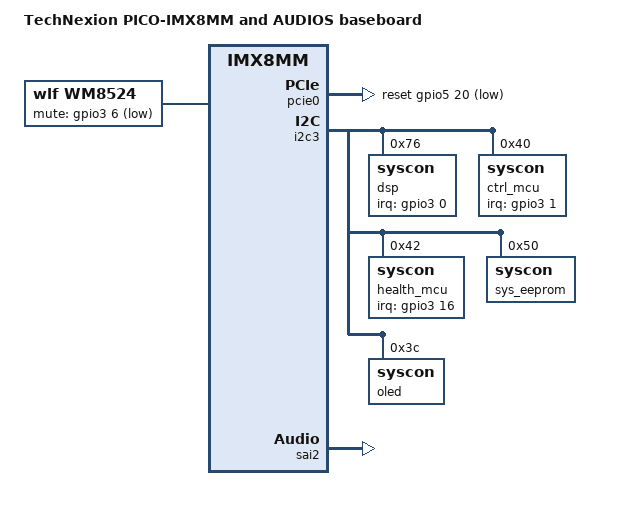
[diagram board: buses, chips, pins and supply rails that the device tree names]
/*
 * Copyright 2020 Audios Inc
 *
 * Author: Erik Young <erik.young@audios.com>
 *
 * This program is free software; you can redistribute it and/or
 * modify it under the terms of the GNU General Public License
 * as published by the Free Software Foundation; either version 2
 * of the License, or (at your option) any later version.
 *
 * This program is distributed in the hope that it will be useful,
 * but WITHOUT ANY WARRANTY; without even the implied warranty of
 * MERCHANTABILITY or FITNESS FOR A PARTICULAR PURPOSE.  See the
 * GNU General Public License for more details.
 */

/dts-v1/;

#include <dt-bindings/input/input.h>
#include "imx8mm-pico.dtsi"

/ {
        model = "TechNexion PICO-IMX8MM and AUDIOS baseboard";
        compatible = "fsl,imx8mm-pico", "fsl,imx8mm";

        /* CODEC DAI driver */
        wm8524: wm8524 {
            pinctrl-names = "default";
            pinctrl-0 = <&pinctrl_wm8524_mute>;
            compatible = "wlf,wm8524";
            clocks = <&clk IMX8MM_CLK_SAI2_ROOT>;
            clock-names = "mclk";
            wlf,mute-gpios = <&gpio3 6 GPIO_ACTIVE_LOW>; 
        };

        /* DAI Link driver */
        sound-wm8524 {
            compatible = "fsl,imx-audio-wm8524";
            model = "wm8524-audio";
            audio-cpu = <&sai2>;
            audio-codec = <&wm8524>;
            audio-routing =
            "Line Out Jack", "LINEVOUTL",
            "Line Out Jack", "LINEVOUTR";
        };

};

&iomuxc {
        pinctrl_pcie0: pcie0grp {
            fsl,pins = <
                MX8MM_IOMUXC_I2C4_SCL_GPIO5_IO20    0x41     /* PCIE_nReset */
                MX8MM_IOMUXC_NAND_DATA02_GPIO3_IO8  0x41     /* EXT_WIFI_REG_ON - E1 Pin 32 */
                MX8MM_IOMUXC_SAI3_RXFS_GPIO4_IO28   0x150    /* Clk Request */
                MX8MM_IOMUXC_I2C4_SDA_GPIO5_IO21    0x41     /* GPIO E1 Pin 48 */
                MX8MM_IOMUXC_NAND_DATA01_GPIO3_IO7  0x41     /* EXT_BT_REG_ON - E1 Pin 30 */
            >;
        };

        pinctrl_wm8524_mute: wm8524mutegrp {
            fsl,pins = <
                MX8MM_IOMUXC_NAND_DATA00_GPIO3_IO6            0x41   /* Temp Pin for Generic sound driver. Remove later */ 
            >;
        };    

        pinctrl_adau1451_irq: adau1451_grp {
                fsl,pins = <
                        MX8MM_IOMUXC_NAND_ALE_GPIO3_IO0       0x19   /* DSP IRQ - E1 Pin 25 */
                >;
        };

        pinctrl_ctrl_mcu_irq: ctrl_mcu_grp {
                fsl,pins = <
                        MX8MM_IOMUXC_NAND_CE0_B_GPIO3_IO1     0x19   /* CTRL IRQ - E1 Pin 24 */
                >;
        };

        pinctrl_health_mcu_irq: health_mcu_grp {
                fsl,pins = <
                        MX8MM_IOMUXC_NAND_READY_B_GPIO3_IO16  0x19   /* HEALTH IRQ - E1 Pin 26 */
                >;
        };

        pinctrl_spare1_dsp_gpio: spare1_dsp_gpio_grp {                       
                fsl,pins = <                                         /* Spare GPIO from DSP */
                        MX8MM_IOMUXC_GPIO1_IO06_GPIO1_IO6     0x19   /* DSP GPIO - X1 Pin 51 */
                >;
        };

        pinctrl_spare2_sp_gpio: spare2_dsp_gpio_grp {                       
                fsl,pins = <                                         /* Spare GPIO from DSP */
                        MX8MM_IOMUXC_GPIO1_IO07_GPIO1_IO7     0x19   /* DSP GPIO - X1 Pin 6 */
                >;
        };

        pinctrl_ps_mcu_shutdown_irq: ps_mcuq_shutdown_grp {
            fsl,pins = <
                MX8MM_IOMUXC_GPIO1_IO01_GPIO1_IO1             0x19   /* Power IRQ - E1 Pin 38 */
            >;
        };

        /*pinctrl_health_shutdown_irq: health_shutdown_grp {
            fsl,pins = <
                MX8MM_IOMUXC_NAND_DATA00_GPIO3_IO6            0x19   / HEALTH SHUTDOWN IRQ - E1 Pin 28 /
            >;
        };*/
};

&pcie0 {
        pinctrl-names = "default";
        pinctrl-0 = <&pinctrl_pcie0>;
        reset-gpio   = <&gpio5 20 GPIO_ACTIVE_LOW>;
        disable-gpio = <&gpio3  8 GPIO_ACTIVE_LOW>;
        clkreq-gpio  = <&gpio4 28 GPIO_ACTIVE_LOW>;
/*       wake-gpio    = <&gpio5 21 GPIO_ACTIVE_LOW>; */
        ext_osc = <1>;
        status = "okay";
};

&i2c3 {
        status = "okay";

        dsp: adau1451@76 {
            compatible = "syscon", "simple-mfd";
            pinctrl-names = "default";
            pinctrl-0 = <&pinctrl_adau1451_irq>;
            interrupt-parent = <&gpio3>;        
            interrupts = <0 IRQ_TYPE_LEVEL_LOW>;
            reg = <0x76>;
            /*wakeup-source;*/
        };

        ctrl_mcu: ctrlmcu@40 {
            compatible = "syscon", "simple-mfd"; 
            pinctrl-names = "default";
            pinctrl-0 = <&pinctrl_ctrl_mcu_irq>;
            interrupt-parent = <&gpio3>;            
            interrupts = <1 IRQ_TYPE_LEVEL_LOW>;
            reg = <0x40>;
            /*wakeup-source;*/
        };

        health_mcu: healthmcu@42 {
            compatible = "syscon", "simple-mfd";
            pinctrl-names = "default";
            pinctrl-0 = <&pinctrl_health_mcu_irq>;
            interrupt-parent = <&gpio3>;
            interrupts = <16 IRQ_TYPE_LEVEL_LOW>;
            reg = <0x42>;
        };

        sys_eeprom: sys_eeprom@50 {
            compatible = "syscon", "simple-mfd"; /* EEProm Driver need */
            reg = <0x50>;
        }; 

        oled: oled@3c {
            /* compatible = "fsl,imx8mm-lcdif"; */
            compatible = "syscon", "simple-mfd";
            reg = <0x3c>;
            /* interrupts = <GIC_SPI 5 IRQ_TYPE_LEVEL_HIGH>;
            clocks = <&clks IMX6SX_CLK_LCDIF1_PIX>,
                     <&clks IMX6SX_CLK_LCDIF_APB>,
                     <&clks IMX6SX_CLK_DISPLAY_AXI>;
            clock-names = "pix", "axi", "disp_axi";

            port {
                endpoint {
                    remote-endpoint = <&panel_in>;
                };
            };*/
        };   
};

&sai2 {
        status = "okay";
};

&pwm4 {
        status = "disabled";
};

&pwm1 {
        status = "disabled";
};
